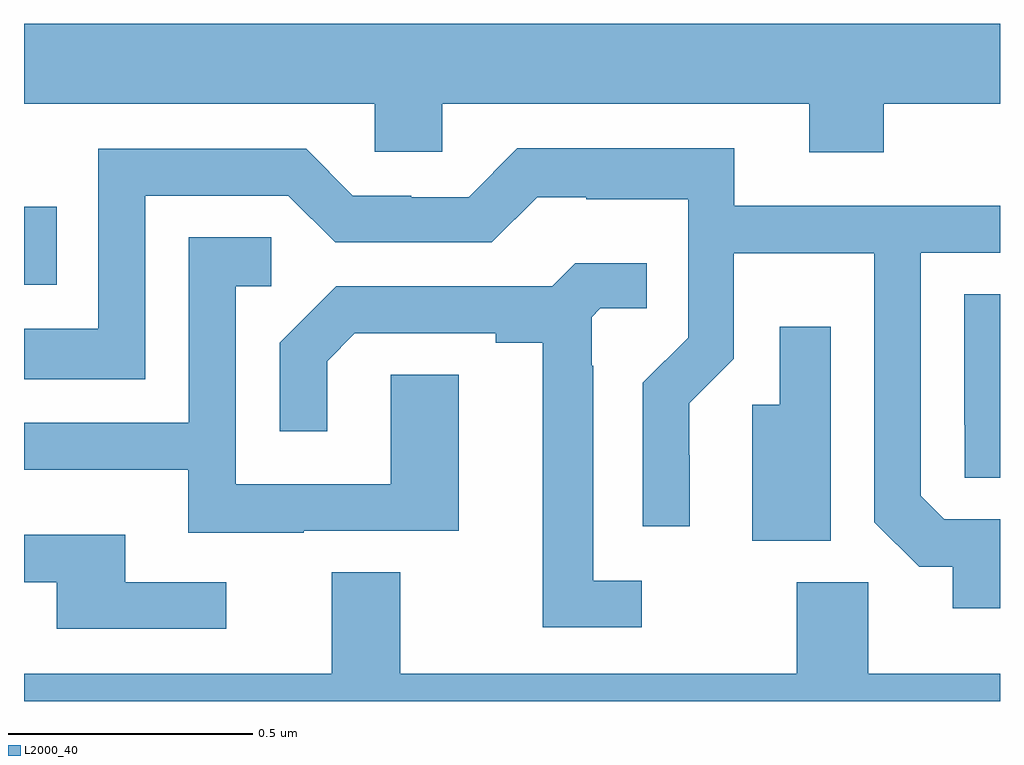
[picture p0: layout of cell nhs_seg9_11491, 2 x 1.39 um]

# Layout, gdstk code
import gdstk
lib = gdstk.Library(unit=1e-6, precision=1e-09)
def R(c, l, rs):  # rectangles x0, y0, x1, y1
    for r in rs: c.add(gdstk.rectangle(r[:2], r[2:], *l))
def P(c, l, *ps):  # polygons
    for p in ps: c.add(gdstk.Polygon(p, *l))
L2000_40 = (2000, 40)

nhs_seg9_11491 = lib.new_cell('nhs_seg9_11491')
R(nhs_seg9_11491, L2000_40, [(256,1225.353,256.067,1225.513)])
P(nhs_seg9_11491, L2000_40, [(256,1225.724),(256.719,1225.724),(256.719,1225.626),(256.857,1225.626),(256.857,1225.724),(257.609,1225.724),(257.609,1225.625),(257.762,1225.625),(257.762,1225.724),(258,1225.724),(258,1225.888),(256,1225.888)],
  [(258,1224.873),(257.886,1224.873),(257.838,1224.921),(257.838,1225.419),(258,1225.419),(258,1225.515),(257.455,1225.515),(257.455,1225.633),(257.011,1225.633),(256.911,1225.533),(256.794,1225.533),(256.794,1225.536),(256.674,1225.536),(256.578,1225.632),(256.152,1225.632),(256.152,1225.263),(256,1225.263),(256,1225.16),(256.248,1225.16),(256.248,1225.536),(256.542,1225.536),(256.638,1225.44),(256.959,1225.44),(257.052,1225.533),(257.152,1225.533),(257.152,1225.529),(257.361,1225.529),(257.361,1225.245),(257.268,1225.152),(257.268,1224.858),(257.364,1224.858),(257.364,1225.004),(257.363,1225.004),(257.363,1225.11),(257.454,1225.202),(257.454,1225.418),(257.742,1225.418),(257.742,1224.867),(257.835,1224.775),(257.903,1224.775),(257.903,1224.69),(258,1224.69)],
  [(256.573,1224.849),(256.891,1224.849),(256.891,1225.169),(256.752,1225.169),(256.752,1224.945),(256.434,1224.945),(256.434,1225.35),(256.507,1225.35),(256.507,1225.451),(256.338,1225.451),(256.338,1225.071),(256,1225.071),(256,1224.974),(256.337,1224.974),(256.337,1224.845),(256.573,1224.845)],
  [(257.266,1224.747),(257.167,1224.747),(257.167,1225.187),(257.163,1225.187),(257.163,1225.287),(257.181,1225.305),(257.276,1225.305),(257.276,1225.397),(257.13,1225.397),(257.082,1225.35),(256.64,1225.35),(256.524,1225.234),(256.524,1225.053),(256.621,1225.053),(256.621,1225.197),(256.678,1225.254),(256.967,1225.254),(256.967,1225.234),(257.063,1225.234),(257.063,1224.651),(257.266,1224.651)],
  [(258,1225.334),(257.927,1225.334),(257.927,1225.066),(257.928,1225.066),(257.928,1224.958),(258,1224.958)],
  [(257.653,1225.267),(257.549,1225.267),(257.549,1225.107),(257.492,1225.107),(257.492,1224.829),(257.653,1224.829)],
  [(256.414,1224.744),(256.207,1224.744),(256.207,1224.841),(256,1224.841),(256,1224.744),(256.067,1224.744),(256.067,1224.648),(256.414,1224.648)],
  [(258,1224.556),(257.73,1224.556),(257.73,1224.744),(257.584,1224.744),(257.584,1224.556),(256.771,1224.556),(256.771,1224.764),(256.631,1224.764),(256.631,1224.556),(256,1224.556),(256,1224.5),(258,1224.5)])

lib.write_gds('nhs_seg9_11491.gds')
